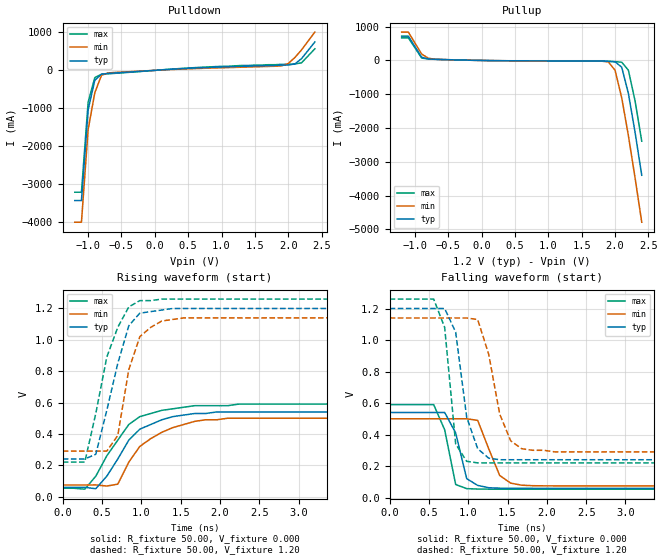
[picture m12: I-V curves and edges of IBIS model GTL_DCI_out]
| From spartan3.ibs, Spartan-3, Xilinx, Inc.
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|   Model GTL_DCI_out
[Model]   GTL_DCI_out
Model_type   Output
Polarity   Non-Inverting
Vmeas =   0.80V
Cref =  0.000F
Rref =  50.00
Vref =   0.80V
C_comp   6.38pF   4.60pF   8.23pF
[Temperature Range]   25.00   85.00   0.000
[Voltage Range]   1.20V   1.14V   1.26V
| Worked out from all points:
|   slope of the pulldown table from 0 to 0.18 V, typ, clamps not added: 8.64 ohm
|   slope of the pullup table from 0 to 0.18 V, typ, clamps not added: 33.8 ohm
|   rising waveform, R_fixture 50.00, V_fixture 0.000: 20-80 % time 452ps typ, 503ps min, 450ps max; typ from 0.059 V to 0.54 V
|   rising waveform, R_fixture 50.00, V_fixture 1.20: 20-80 % time 291ps typ, 223ps min, 305ps max; typ from 0.24 V to 1.2 V
|   falling waveform, R_fixture 50.00, V_fixture 0.000: 20-80 % time 159ps typ, 206ps min, 155ps max; typ from 0.54 V to 0.059 V
|   falling waveform, R_fixture 50.00, V_fixture 1.20: 20-80 % time 184ps typ, 236ps min, 118ps max; typ from 1.2 V to 0.24 V
[Pulldown]
| voltage   I(typ)   I(min)   I(max)
-1.2V     -3.44A     -4.01A     -3.22A
-1.1V     -3.44A     -4.01A     -3.22A
-1V       -1.05A     -1.57A     -850mA
-900mV    -270mA     -600mA     -200mA
-800mV    -110mA     -140mA     -110mA
-700mV    -89.24mA   -76.36mA   -100mA
0V        -8.21mA    -8.28mA    -8.46mA
1.9V      130mA      110mA      150mA
2V        130mA      170mA      150mA
2.1V      160mA      330mA      160mA
2.2V      300mA      530mA      190mA
2.4V      740mA      1A         560mA
[Pullup]
| voltage   I(typ)   I(min)   I(max)
-1.2V     720mA      840mA      670mA
-1.1V     720mA      840mA      670mA
-900mV    96.25mA    190mA      71.95mA
-800mV    43.5mA     64.74mA    41.66mA
-700mV    34.19mA    35.83mA    33.48mA
1.6V      -12.41mA   -12.36mA   -13.38mA
1.9V      -26.7mA    -44.74mA   -25.54mA
2V        -40.35mA   -290mA     -35.09mA
2.1V      -200mA     -1.11A     -52.52mA
2.2V      -980mA     -2.23A     -290mA
2.3V      -2.13A     -3.48A     -1.2A
2.4V      -3.4A      -4.79A     -2.39A
[Ramp]
| variable   typ   min   max
dV/dt_r   0.29/0.44n   0.26/0.47n   0.32/0.41n
dV/dt_f   0.58/0.15n   0.51/0.20n   0.62/0.12n
R_load = 50.00
[Rising Waveform]
R_fixture = 50.00
V_fixture = 0.000
| time   V(typ)   V(min)   V(max)
0s        58.58mV    73.89mV    53.2mV
280ps     58.76mV    73.89mV    47.27mV
420ps     50.15mV    74.18mV    130mV
700ps     240mV      79.33mV    360mV
840ps     360mV      220mV      460mV
980ps     430mV      320mV      510mV
1.26ns    490mV      410mV      550mV
1.68ns    530mV      480mV      580mV
2.1ns     540mV      500mV      580mV
7ns       540mV      500mV      590mV
[Rising Waveform]
R_fixture = 50.00
V_fixture = 1.20
V_fixture_min = 1.14
V_fixture_max = 1.26
| time   V(typ)   V(min)   V(max)
0s        240mV      290mV      220mV
280ps     240mV      290mV      220mV
420ps     270mV      290mV      530mV
560ps     550mV      290mV      890mV
700ps     850mV      390mV      1.08V
840ps     1.09V      810mV      1.21V
980ps     1.17V      1.02V      1.25V
1.26ns    1.19V      1.12V      1.26V
1.54ns    1.2V       1.14V      1.26V
7ns       1.2V       1.14V      1.26V
[Falling Waveform]
R_fixture = 50.00
V_fixture = 0.000
| time   V(typ)   V(min)   V(max)
0s        540mV      500mV      590mV
560ps     540mV      500mV      590mV
700ps     540mV      500mV      430mV
840ps     410mV      500mV      82.79mV
980ps     120mV      500mV      56.6mV
1.12ns    77mV       490mV      54.01mV
1.4ns     59.57mV    140mV      53.25mV
1.54ns    58.83mV    91.57mV    53.2mV
1.68ns    58.64mV    78.37mV    53.21mV
7ns       58.58mV    73.89mV    53.2mV
[Falling Waveform]
R_fixture = 50.00
V_fixture = 1.20
V_fixture_min = 1.14
V_fixture_max = 1.26
| time   V(typ)   V(min)   V(max)
0s        1.2V       1.14V      1.26V
560ps     1.2V       1.14V      1.26V
700ps     1.2V       1.14V      1.08V
840ps     1.05V      1.14V      340mV
980ps     510mV      1.14V      230mV
1.12ns    310mV      1.13V      220mV
1.26ns    250mV      910mV      220mV
1.4ns     240mV      530mV      220mV
1.68ns    240mV      310mV      220mV
7ns       240mV      290mV      220mV
